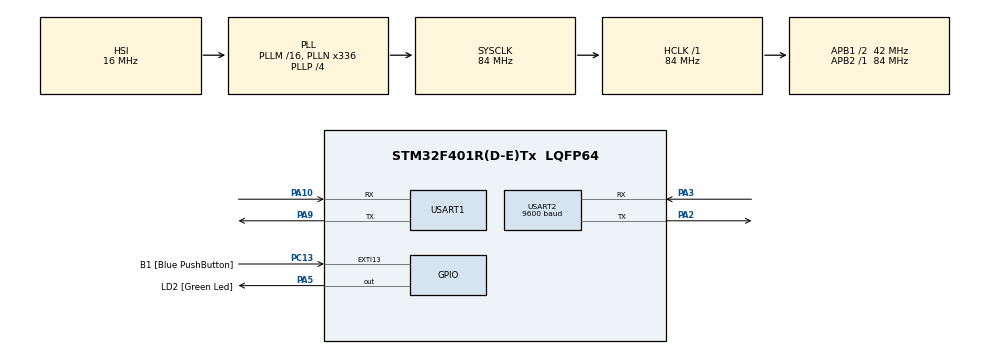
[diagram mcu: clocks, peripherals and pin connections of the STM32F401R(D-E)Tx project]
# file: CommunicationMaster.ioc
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Mcu.Family=STM32F4
Mcu.Name=STM32F401R(D-E)Tx
Mcu.Package=LQFP64
NVIC.PriorityGroup=NVIC_PRIORITYGROUP_0
PA10.Mode=Asynchronous
PA10.Signal=USART1_RX
PA13.GPIO_Label=TMS
PA13.Mode=Serial_Wire
PA13.Signal=SYS_JTMS-SWDIO
PA14.GPIO_Label=TCK
PA14.Mode=Serial_Wire
PA14.Signal=SYS_JTCK-SWCLK
PA2.Mode=Asynchronous
PA2.Signal=USART2_TX
PA3.Mode=Asynchronous
PA3.Signal=USART2_RX
PA5.GPIO_Label=LD2 [Green Led]
PA5.GPIO_Mode=GPIO_MODE_OUTPUT_PP
PA5.GPIO_PuPd=GPIO_NOPULL
PA5.GPIO_Speed=GPIO_SPEED_FREQ_LOW
PA5.Signal=GPIO_Output
PA9.Mode=Asynchronous
PA9.Signal=USART1_TX
PB3.GPIO_Label=SWO
PB3.Signal=SYS_JTDO-SWO
PB4.Signal=SPI3_MISO
PB7.Signal=I2C1_SDA
PC13-ANTI_TAMP.GPIO_Label=B1 [Blue PushButton]
PC13-ANTI_TAMP.GPIO_ModeDefaultEXTI=GPIO_MODE_IT_FALLING
PC13-ANTI_TAMP.GPIO_PuPd=GPIO_NOPULL
PC13-ANTI_TAMP.Signal=GPXTI13
PC14-OSC32_IN.Mode=LSE-External-Oscillator
PC14-OSC32_IN.Signal=RCC_OSC32_IN
PC15-OSC32_OUT.Mode=LSE-External-Oscillator
PC15-OSC32_OUT.Signal=RCC_OSC32_OUT
PH0\ -\ OSC_IN.Mode=HSE-External-Clock-Source
PH0\ -\ OSC_IN.Signal=RCC_OSC_IN
PH1\ -\ OSC_OUT.Mode=HSE-External-Clock-Source
PH1\ -\ OSC_OUT.Signal=RCC_OSC_OUT
ProjectManager.HeapSize=0x200
ProjectManager.StackSize=0x400
ProjectManager.TargetToolchain=STM32CubeIDE
RCC.48MHZClocksFreq_Value=48000000
RCC.AHBFreq_Value=84000000
RCC.APB1CLKDivider=RCC_HCLK_DIV2
RCC.APB1Freq_Value=42000000
RCC.APB1TimFreq_Value=84000000
RCC.APB2Freq_Value=84000000
RCC.APB2TimFreq_Value=84000000
RCC.CortexFreq_Value=84000000
RCC.HCLKFreq_Value=84000000
RCC.HSE_VALUE=8000000
RCC.HSI_VALUE=16000000
RCC.PLLN=336
RCC.PLLP=RCC_PLLP_DIV4
RCC.PLLQ=7
RCC.SYSCLKFreq_VALUE=84000000
RCC.SYSCLKSource=RCC_SYSCLKSOURCE_PLLCLK
RCC.VCOOutputFreq_Value=336000000
USART1.VirtualMode=VM_ASYNC
USART2.BaudRate=9600
USART2.VirtualMode=VM_ASYNC
board=NUCLEO-F401RE

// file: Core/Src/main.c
/* USER CODE BEGIN Header */
/**
  ******************************************************************************
  * @file           : main.c
  * @brief          : Main program body
  ******************************************************************************
  * @attention
  *
  * Copyright (c) 2024 STMicroelectronics.
  * All rights reserved.
  *
  * This software is licensed under terms that can be found in the LICENSE file
  * in the root directory of this software component.
  * If no LICENSE file comes with this software, it is provided AS-IS.
  *
  ******************************************************************************
  */
/* USER CODE END Header */
#include "main.h"

UART_HandleTypeDef huart1;
UART_HandleTypeDef huart2;

void SystemClock_Config(void);
static void MX_GPIO_Init(void);
static void MX_USART2_UART_Init(void);
static void MX_USART1_UART_Init(void);

int main(void)
{

  /* MCU Configuration--------------------------------------------------------*/

  /* Reset of all peripherals, Initializes the Flash interface and the Systick. */
  HAL_Init();

  /* USER CODE BEGIN Init */

  uint8_t txData[2]; // Data to transmit
  int rxData; // Store received data
  int motor1Direction=0,motor2Direction=0;
  char inputChar;

  /* USER CODE END Init */

  /* Configure the system clock */
  SystemClock_Config();

  /* Initialize all configured peripherals */
  MX_GPIO_Init();
  MX_USART2_UART_Init();
  MX_USART1_UART_Init();

  /* Infinite loop */
  while (1)
  {

    /* USER CODE BEGIN 3 */

    if (HAL_UART_Receive(&huart2, (uint8_t*)&inputChar, 1, HAL_MAX_DELAY) == HAL_OK)
        {
//          // Set motor directions based on input
//          switch(inputChar) {
//            case 'w':  // Forward
//              motor1Direction = 1;
//              motor2Direction = 1;
//              //break;
//            case 's':  // Backward
//              motor1Direction = -1;
//              motor2Direction = -1;
//              //break;
//            case 'a':  // Left
//              motor1Direction = -1;
//              motor2Direction = 1;
//              //break;
//            case 'd':  // Right
//              motor1Direction = 1;
//              motor2Direction = -1;
//              //break;
//            default:
//              motor1Direction = 0;  // Stop
//              motor2Direction = 0;  // Stop
//              //break;
//          }
    		if(inputChar=='w'){
    			motor1Direction = 1;
    			motor2Direction = 1;
    		}
    		else if(inputChar=='s'){
    		    		motor1Direction = -1;
    		    		motor2Direction = -1;
    		 }
    		else if(inputChar=='a'){
    		    		motor1Direction = -1;
    		    		motor2Direction = 1;
    		    	}
    		else if(inputChar=='d'){
    		    		motor1Direction = 1;
    		    		motor2Direction = -1;
    		    	}
    		else if(inputChar=='p'){
    		    		    		motor1Direction = 0;
    		    		    		motor2Direction = 0;
    		    		    	}
        }

    // Combine directions into txData (you can use more sophisticated control here)
    txData[0] = motor1Direction;  // Send motor 1 direction
    txData[1] = motor2Direction;  // Send motor 2 direction

//    if (HAL_SPI_TransmitReceive(&spi3, txData, rxData, sizeof(txData), 1000) == HAL_OK)
//        {
//          // Print received data via UART
//          HAL_UART_Transmit(&huart2, rxData, sizeof(rxData), 1000);
//          //HAL_UART_Transmit(&huart2, (uint8_t*)"\r\n", 2, 1000); // Line break
//        }
//    else
//        {
//            // Handle SPI communication error
//            //HAL_UART_Transmit(&huart2, (uint8_t*)"SPI Error!\r\n", 12, 1000);
//        }
    HAL_UART_Transmit(&huart1, txData, sizeof(txData), HAL_MAX_DELAY);
    //HAL_UART_Receive(&huart1, rxData, 32, HAL_MAX_DELAY);
    uint8_t buffer1[4];
    HAL_UART_Receive(&huart1, buffer1, sizeof(buffer1), HAL_MAX_DELAY);
    int received_value;
    memcpy(&received_value, buffer1, sizeof(received_value));
    char buffer[50];
    snprintf(buffer, sizeof(buffer), "TDS: %d, MOTION: %d, %d", received_value, motor1Direction, motor2Direction);
    HAL_UART_Transmit(&huart2, (uint8_t *)buffer, strlen(buffer), HAL_MAX_DELAY);
    //HAL_UART_Transmit(&huart2, rxData, sizeof(rxData), 1000);

    HAL_Delay(1000);  // Wait before next communication
  }
  /* USER CODE END 3 */
}

void SystemClock_Config(void)
{
  RCC_OscInitTypeDef RCC_OscInitStruct = {0};
  RCC_ClkInitTypeDef RCC_ClkInitStruct = {0};

  /** Configure the main internal regulator output voltage
  */
  __HAL_RCC_PWR_CLK_ENABLE();
  __HAL_PWR_VOLTAGESCALING_CONFIG(PWR_REGULATOR_VOLTAGE_SCALE2);

  /** Initializes the RCC Oscillators according to the specified parameters
  * in the RCC_OscInitTypeDef structure.
  */
  RCC_OscInitStruct.OscillatorType = RCC_OSCILLATORTYPE_HSI;
  RCC_OscInitStruct.HSIState = RCC_HSI_ON;
  RCC_OscInitStruct.HSICalibrationValue = RCC_HSICALIBRATION_DEFAULT;
  RCC_OscInitStruct.PLL.PLLState = RCC_PLL_ON;
  RCC_OscInitStruct.PLL.PLLSource = RCC_PLLSOURCE_HSI;
  RCC_OscInitStruct.PLL.PLLM = 16;
  RCC_OscInitStruct.PLL.PLLN = 336;
  RCC_OscInitStruct.PLL.PLLP = RCC_PLLP_DIV4;
  RCC_OscInitStruct.PLL.PLLQ = 7;
  if (HAL_RCC_OscConfig(&RCC_OscInitStruct) != HAL_OK)
  {
    Error_Handler();
  }

  /** Initializes the CPU, AHB and APB buses clocks
  */
  RCC_ClkInitStruct.ClockType = RCC_CLOCKTYPE_HCLK|RCC_CLOCKTYPE_SYSCLK
                              |RCC_CLOCKTYPE_PCLK1|RCC_CLOCKTYPE_PCLK2;
  RCC_ClkInitStruct.SYSCLKSource = RCC_SYSCLKSOURCE_PLLCLK;
  RCC_ClkInitStruct.AHBCLKDivider = RCC_SYSCLK_DIV1;
  RCC_ClkInitStruct.APB1CLKDivider = RCC_HCLK_DIV2;
  RCC_ClkInitStruct.APB2CLKDivider = RCC_HCLK_DIV1;

  if (HAL_RCC_ClockConfig(&RCC_ClkInitStruct, FLASH_LATENCY_2) != HAL_OK)
  {
    Error_Handler();
  }
}

static void MX_USART1_UART_Init(void)
{

  huart1.Instance = USART1;
  huart1.Init.BaudRate = 115200;
  huart1.Init.WordLength = UART_WORDLENGTH_8B;
  huart1.Init.StopBits = UART_STOPBITS_1;
  huart1.Init.Parity = UART_PARITY_NONE;
  huart1.Init.Mode = UART_MODE_TX_RX;
  huart1.Init.HwFlowCtl = UART_HWCONTROL_NONE;
  huart1.Init.OverSampling = UART_OVERSAMPLING_16;
  if (HAL_UART_Init(&huart1) != HAL_OK)
  {
    Error_Handler();
  }

}

static void MX_USART2_UART_Init(void)
{

  huart2.Instance = USART2;
  huart2.Init.BaudRate = 9600;
  huart2.Init.WordLength = UART_WORDLENGTH_8B;
  huart2.Init.StopBits = UART_STOPBITS_1;
  huart2.Init.Parity = UART_PARITY_NONE;
  huart2.Init.Mode = UART_MODE_TX_RX;
  huart2.Init.HwFlowCtl = UART_HWCONTROL_NONE;
  huart2.Init.OverSampling = UART_OVERSAMPLING_16;
  if (HAL_UART_Init(&huart2) != HAL_OK)
  {
    Error_Handler();
  }

}

static void MX_GPIO_Init(void)
{
  GPIO_InitTypeDef GPIO_InitStruct = {0};

  /* GPIO Ports Clock Enable */
  __HAL_RCC_GPIOC_CLK_ENABLE();
  __HAL_RCC_GPIOH_CLK_ENABLE();
  __HAL_RCC_GPIOA_CLK_ENABLE();
  __HAL_RCC_GPIOB_CLK_ENABLE();

  /*Configure GPIO pin Output Level */
  HAL_GPIO_WritePin(LD2_GPIO_Port, LD2_Pin, GPIO_PIN_RESET);

  /*Configure GPIO pin : B1_Pin */
  GPIO_InitStruct.Pin = B1_Pin;
  GPIO_InitStruct.Mode = GPIO_MODE_IT_FALLING;
  GPIO_InitStruct.Pull = GPIO_NOPULL;
  HAL_GPIO_Init(B1_GPIO_Port, &GPIO_InitStruct);

  /*Configure GPIO pin : LD2_Pin */
  GPIO_InitStruct.Pin = LD2_Pin;
  GPIO_InitStruct.Mode = GPIO_MODE_OUTPUT_PP;
  GPIO_InitStruct.Pull = GPIO_NOPULL;
  GPIO_InitStruct.Speed = GPIO_SPEED_FREQ_LOW;
  HAL_GPIO_Init(LD2_GPIO_Port, &GPIO_InitStruct);

  /*Configure GPIO pin : PB4 */
  GPIO_InitStruct.Pin = GPIO_PIN_4;
  GPIO_InitStruct.Mode = GPIO_MODE_AF_PP;
  GPIO_InitStruct.Pull = GPIO_NOPULL;
  GPIO_InitStruct.Speed = GPIO_SPEED_FREQ_VERY_HIGH;
  GPIO_InitStruct.Alternate = GPIO_AF6_SPI3;
  HAL_GPIO_Init(GPIOB, &GPIO_InitStruct);

  /*Configure GPIO pin : PB7 */
  GPIO_InitStruct.Pin = GPIO_PIN_7;
  GPIO_InitStruct.Mode = GPIO_MODE_AF_OD;
  GPIO_InitStruct.Pull = GPIO_NOPULL;
  GPIO_InitStruct.Speed = GPIO_SPEED_FREQ_VERY_HIGH;
  GPIO_InitStruct.Alternate = GPIO_AF4_I2C1;
  HAL_GPIO_Init(GPIOB, &GPIO_InitStruct);

}

void Error_Handler(void)
{
  __disable_irq();
  while (1)
  {
  }
}
